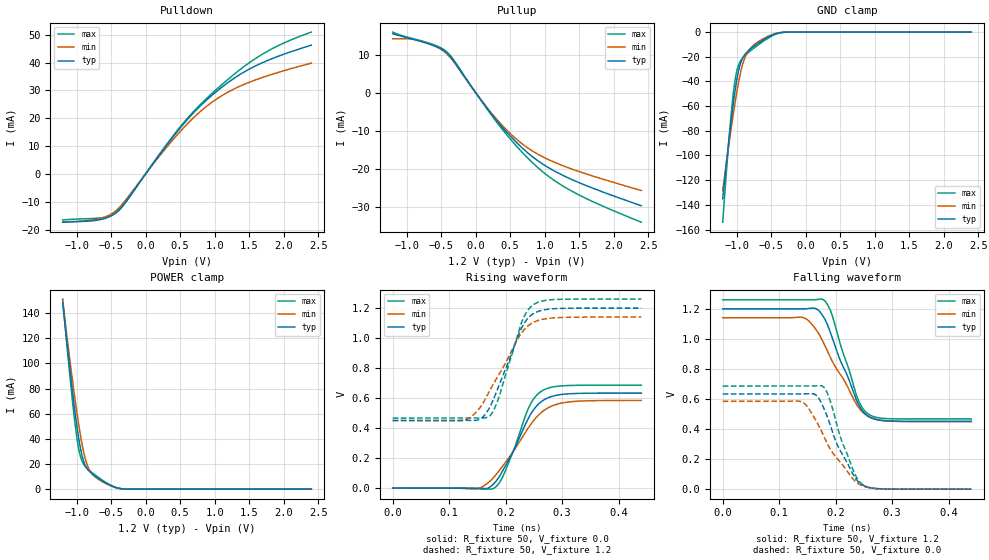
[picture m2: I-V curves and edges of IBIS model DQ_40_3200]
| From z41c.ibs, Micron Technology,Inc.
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| MODEL DQ_40_3200 (40 Ohm Data I/O with no ODT, 1600-3200Mbps)
[Model]   DQ_40_3200
Model_type   I/O
Vinl = 905.000mV
Vinh = 1015.000mV
Vmeas = 960.000mV
Vref = 1200.000mV
Cref = 0.0pF
Rref = 50.000Ohm
|   typ   min   max
|C_comp   0.690pF   0.640pF   0.740pF
C_comp_pullup   0.345pF   0.320pF   0.370pF
C_comp_pulldown   0.345pF   0.320pF   0.370pF
[Model Spec]
| Timing spec test load voltage corners
Vref   1.2000V   1.1400V   1.2600V
| Dynamic Overshoot Parameters from DDR4 Specification
|D_overshoot_ampl_h   0.40   NA   NA
|D_overshoot_ampl_l   0.40   NA   NA
|D_overshoot_area_h   0.0800n   NA   NA
|D_overshoot_area_l   0.0800n   NA   NA
[Voltage Range]   1.2000V   1.1400V   1.2600V
| Junction Temperature (Ambient temp is 35C typ, 95C min, 0C max)
[Temperature Range]   50.0   110.0   0.0
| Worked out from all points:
|   slope of the pulldown table from 0 to 0.18 V, typ, clamps not added: 29.1 ohm
|   slope of the pullup table from 0 to 0.18 V, typ, clamps not added: 40.4 ohm
|   GND clamp passes 1 mA (typ) near -0.41 V on its own axis
|   POWER clamp passes 1 mA (typ) near -0.41 V on its own axis
|   rising waveform, R_fixture 50, V_fixture 0.0: 20-80 % time 50.2ps typ, 64.7ps min, 40.5ps max; typ from 0 V to 0.633 V
|   rising waveform, R_fixture 50, V_fixture 1.2: 20-80 % time 46.6ps typ, 59.3ps min, 38.1ps max; typ from 0.451 V to 1.2 V
|   falling waveform, R_fixture 50, V_fixture 1.2: 20-80 % time 46ps typ, 58.4ps min, 38.6ps max; typ from 1.2 V to 0.451 V
|   falling waveform, R_fixture 50, V_fixture 0.0: 20-80 % time 44.1ps typ, 57.3ps min, 36.3ps max; typ from 0.633 V to 0 V
[Pulldown]
|   Voltage   I(typ)   I(min)   I(max)
-1.2V     -17.36mA   -17.24mA   -16.53mA
-693mV    -16.6mA    -16.19mA   -15.92mA
-540mV    -15.59mA   -14.98mA   -15.28mA
-426mV    -13.89mA   -13.14mA   -13.93mA
-291mV    -10.13mA   -9.473mA   -10.34mA
450mV     14.95mA    13.81mA    15.32mA
684mV     21.69mA    19.97mA    22.13mA
933mV     27.65mA    25.24mA    28.26mA
1.311V    34.86mA    30.89mA    36.38mA
1.641V    39.39mA    34.22mA    42.27mA
1.962V    42.67mA    36.8mA     46.59mA
2.4V      46.27mA    39.81mA    50.98mA
[GND Clamp]
|   Voltage   I(typ)   I(min)   I(max)
-1.2V     -135.1mA   -128.5mA   -154.1mA
-1.134V   -99.81mA   -100.7mA   -104.3mA
-1.083V   -74.45mA   -80.29mA   -69.99mA
-1.05V    -59.43mA   -67.71mA   -51.51mA
-1.014V   -45mA      -54.8mA    -36.63mA
-957mV    -28.33mA   -37.01mA   -24.97mA
-894mV    -19.52mA   -23.01mA   -19.89mA
-843mV    -15.91mA   -16.58mA   -17.23mA
-756mV    -11.76mA   -10.82mA   -13.34mA
-519mV    -3.414mA   -2.822mA   -4.147mA
-318mV    -177.7uA   -161.7uA   -218.7uA
2.4V      0A         0A         0A
[Pullup]
|   Voltage   I(typ)   I(min)   I(max)
-1.2V     15.45mA    14.15mA    15.91mA
-951mV    14.23mA    14.15mA    14.41mA
-780mV    13.4mA     13.43mA    13.59mA
-537mV    11.85mA    11.75mA    12.08mA
-399mV    10.1mA     9.867mA    10.42mA
99mV      -2.482mA   -2.385mA   -2.594mA
339mV     -8.106mA   -7.718mA   -8.557mA
591mV     -13.1mA    -12.25mA   -14.07mA
837mV     -17.07mA   -15.53mA   -18.68mA
1.101V    -20.24mA   -18.01mA   -22.63mA
1.404V    -22.97mA   -20.19mA   -26.04mA
2.4V      -29.79mA   -25.78mA   -34.11mA
[POWER Clamp]
|   Voltage   I(typ)   I(min)   I(max)
-1.2V     148.2mA    149.9mA    151.2mA
-1.062V   79.24mA    88.1mA     71.77mA
-1.02V    60.55mA    70.87mA    51.31mA
-972mV    41.83mA    52.71mA    33.13mA
-945mV    33.24mA    43.51mA    26.38mA
-906mV    23.88mA    31.95mA    20.76mA
-846mV    16.32mA    19.49mA    16.46mA
-798mV    13.3mA     13.95mA    14.18mA
-714mV    9.688mA    9.037mA    10.65mA
-486mV    2.427mA    2.265mA    2.679mA
-318mV    181.8uA    222.1uA    167.6uA
2.4V      0A         0A         0A
[Ramp]
|   typ   min   max
| 20% - 80%
dV/dt_r   379.92m/50.18p   350.58m/64.69p   411.62m/40.54p
dV/dt_f   449.42m/45.96p   414.17m/58.45p   475.78m/38.56p
| Slew rate: Power terminated
|SR_r[V/ns]   9.65   6.98   12.49
|SR_f[V/ns]   9.78   7.09   12.34
| 25% - 75%
|dV/dt_r   316.60m/40.62p   292.15m/52.51p   343.02m/32.80p
|dV/dt_f   374.51m/38.69p   345.14m/49.29p   396.48m/32.33p
| Slew rate: Power terminated
|SR_r[V/ns]   9.71   6.99   12.62
|SR_f[V/ns]   9.68   7.00   12.26
R_load = 50
[Rising Waveform]
R_fixture = 50
V_fixture = 0.0
|   Time   V(typ)   V(min)   V(max)
0s        7.646uV    16.82uV    5.166uV
146ps     -2.08mV    -6.033mV   257.1uV
165ps     -4.749mV   24.1mV     -3.739mV
178ps     25.7mV     68.38mV    -3.01mV
197ps     131.4mV    158.9mV    94.12mV
242ps     478.2mV    412.4mV    546.3mV
262ps     573.5mV    500.8mV    642.6mV
283ps     612.7mV    549.2mV    673.9mV
310ps     628.2mV    573.5mV    683.7mV
440ps     633.2mV    584.3mV    686mV
[Rising Waveform]
R_fixture   = 50
V_fixture   = 1.2
V_fixture_min = 1.14
V_fixture_max = 1.26
|   Time   V(typ)   V(min)   V(max)
0s        451mV      449.7mV    467mV
129ps     450.8mV    455.2mV    467mV
155ps     460.5mV    539.1mV    466.6mV
171ps     533.6mV    644.6mV    479.3mV
187ps     675.7mV    750.7mV    595.3mV
231ps     1.089V     1.05V      1.132V
241ps     1.139V     1.086V     1.195V
256ps     1.175V     1.116V     1.237V
297ps     1.198V     1.137V     1.258V
440ps     1.2V       1.14V      1.26V
[Falling Waveform]
R_fixture   = 50
V_fixture   = 1.2
V_fixture_min = 1.14
V_fixture_max = 1.26
|   Time   V(typ)   V(min)   V(max)
0s        1.2V       1.14V      1.26V
140ps     1.2V       1.144V     1.26V
164ps     1.203V     1.068V     1.261V
177ps     1.155V     986mV      1.263V
192ps     1.028V     865.7mV    1.176V
206ps     875.8mV    775.3mV    992.9mV
239ps     573.9mV    551.5mV    602.1mV
255ps     492.4mV    489.9mV    507.4mV
290ps     454.3mV    454.5mV    469.5mV
440ps     451mV      449.7mV    467mV
[Falling Waveform]
R_fixture = 50
V_fixture = 0.0
|   Time   V(typ)   V(min)   V(max)
0s        633.2mV    584.3mV    686mV
139ps     633.2mV    582mV      686.1mV
163ps     631.2mV    469.4mV    686.9mV
176ps     563.2mV    376.8mV    686.6mV
189ps     441.1mV    275.3mV    600.6mV
206ps     270.1mV    189.3mV    373.9mV
234ps     77.6mV     54.26mV    99.69mV
248ps     26.24mV    21.32mV    29.67mV
280ps     2.117mV    2.51mV     1.755mV
440ps     7.653uV    16.83uV    5.189uV
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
